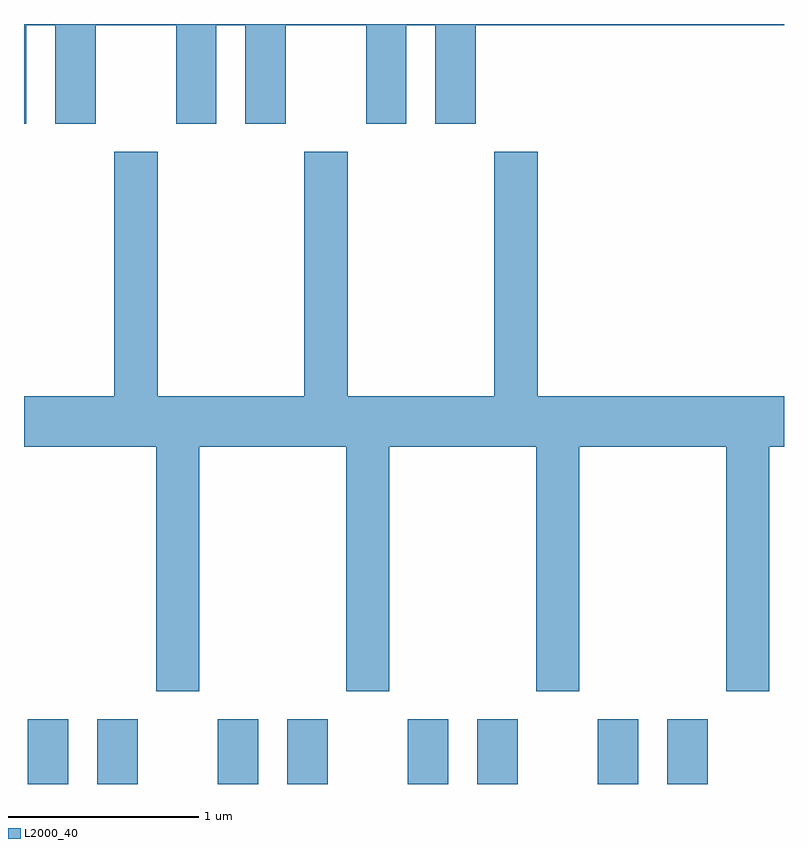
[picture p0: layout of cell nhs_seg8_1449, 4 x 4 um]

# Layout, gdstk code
import gdstk
lib = gdstk.Library(unit=1e-6, precision=1e-09)
def R(c, l, rs):  # rectangles x0, y0, x1, y1
    for r in rs: c.add(gdstk.rectangle(r[:2], r[2:], *l))
def P(c, l, *ps):  # polygons
    for p in ps: c.add(gdstk.Polygon(p, *l))
L2000_40 = (2000, 40)

nhs_seg8_1449 = lib.new_cell('nhs_seg8_1449')
R(nhs_seg8_1449, L2000_40, [(227.631,1912.342,227.844,1912.684), (227.996,1912.342,228.209,1912.684), (228.631,1912.342,228.844,1912.684), (228.996,1912.342,229.209,1912.684), (229.631,1912.342,229.844,1912.684), (229.996,1912.342,230.209,1912.684), (230.631,1912.342,230.844,1912.684), (230.996,1912.342,231.209,1912.684)])
P(nhs_seg8_1449, L2000_40, [(227.624,1916.336),(227.776,1916.336),(227.776,1915.816),(227.989,1915.816),(227.989,1916.336),(228.411,1916.336),(228.411,1915.816),(228.624,1915.816),(228.624,1916.336),(228.776,1916.336),(228.776,1915.816),(228.989,1915.816),(228.989,1916.336),(229.411,1916.336),(229.411,1915.816),(229.624,1915.816),(229.624,1916.336),(229.776,1916.336),(229.776,1915.816),(229.989,1915.816),(229.989,1916.336),(231.611,1916.336),(231.611,1916.342),(227.611,1916.342),(227.611,1915.816),(227.624,1915.816)],
  [(228.534,1914.116),(229.306,1914.116),(229.306,1912.831),(229.534,1912.831),(229.534,1914.116),(230.306,1914.116),(230.306,1912.831),(230.534,1912.831),(230.534,1914.116),(231.306,1914.116),(231.306,1912.831),(231.534,1912.831),(231.534,1914.116),(231.611,1914.116),(231.611,1914.384),(230.314,1914.384),(230.314,1915.669),(230.086,1915.669),(230.086,1914.384),(229.314,1914.384),(229.314,1915.669),(229.086,1915.669),(229.086,1914.384),(228.314,1914.384),(228.314,1915.669),(228.086,1915.669),(228.086,1914.384),(227.611,1914.384),(227.611,1914.116),(228.306,1914.116),(228.306,1912.831),(228.534,1912.831)])

lib.write_gds('nhs_seg8_1449.gds')
